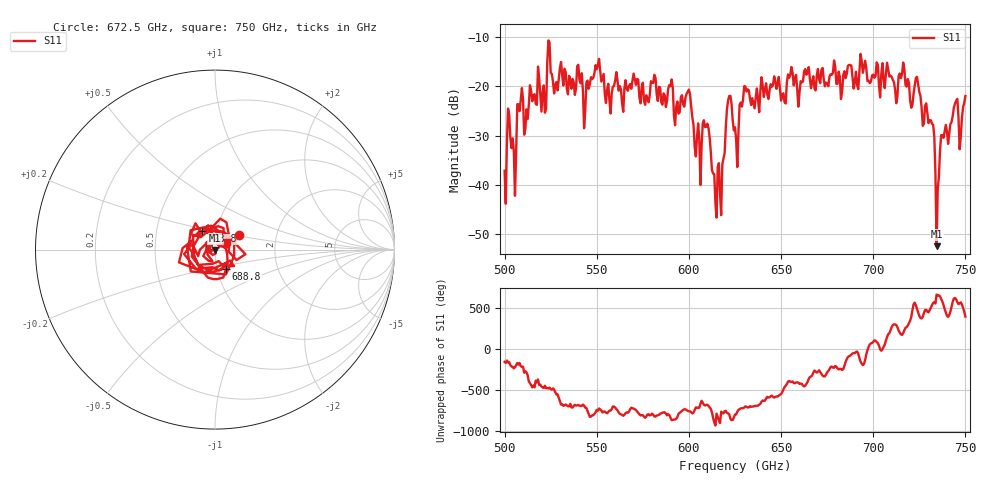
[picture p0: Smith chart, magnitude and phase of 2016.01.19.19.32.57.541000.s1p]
!Created with skrf (http://scikit-rf.org).
# GHz S RI R 50.0
!freq ReS11 ImS11
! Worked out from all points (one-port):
!   401 points, 500 GHz to 750 GHz, reference 50 ohm
!   lowest |S11| = -52.4 dB at 734.4 GHz (marker M1), VSWR 1.00, Z = 50.1 - j0.208 ohm
!   |S11| at or under -10 dB: start of sweep to end of sweep
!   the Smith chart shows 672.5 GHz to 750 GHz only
!   S11 on the Smith chart (normalised r, x): 672.5 GHz: 1.28, +0.21; 688.8 GHz: 1.11, -0.24; 723.8 GHz: 0.85, +0.18; 750 GHz: 1.14, +0.09
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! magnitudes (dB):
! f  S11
! 500 GHz  -37.1
! 502.5 GHz  -25.8
! 505 GHz  -33.2
! 508.1 GHz  -25.0
! 511.9 GHz  -24.7
! 521.2 GHz  -19.8
! 524.4 GHz  -11.1
! 531.2 GHz  -17.8
! 562.5 GHz  -20.0
! 590 GHz  -20.0
! 593.8 GHz  -23.1
! 600 GHz  -20.7
! 605 GHz  -27.5
! 609.4 GHz  -28.2
! 616.2 GHz  -35.6
! 621.9 GHz  -22.0
! 625 GHz  -28.3
! 631.2 GHz  -21.1
! 656.2 GHz  -17.3
! 672.5 GHz  -16.3
! 687.5 GHz  -15.7
! 688.8 GHz  -18.2
! 718.8 GHz  -18.5
! 723.8 GHz  -18.1
! 731.9 GHz  -27.6
! 734.4 GHz  -52.4
! 738.1 GHz  -30.5
! 750 GHz  -22.0
